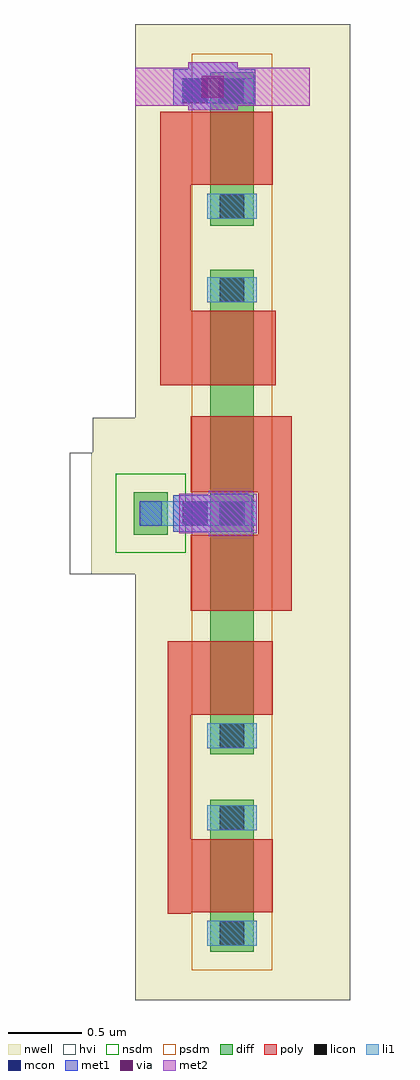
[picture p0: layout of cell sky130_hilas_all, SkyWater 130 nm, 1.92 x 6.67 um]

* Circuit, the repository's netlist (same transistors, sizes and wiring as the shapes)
* Copyright 2020 The Hilas PDK Authors
* 
* This file is part of HILAS.
* 
* HILAS is free software: you can redistribute it and/or modify
* it under the terms of the GNU Lesser General Public License as published by
* the Free Software Foundation, version 3 of the License.
* 
* HILAS is distributed in the hope that it will be useful,
* but WITHOUT ANY WARRANTY; without even the implied warranty of
* MERCHANTABILITY or FITNESS FOR A PARTICULAR PURPOSE.  See the
* GNU Lesser General Public License for more details.
* 
* You should have received a copy of the GNU Lesser General Public License
* along with HILAS.  If not, see <https://www.gnu.org/licenses/>.
* 
* Licensed under the Lesser General Public License, Version 3.0 (the "License");
* you may not use this file except in compliance with the License.
* You may obtain a copy of the License at
* 
* https://www.gnu.org/licenses/lgpl-3.0.en.html
* 
* Unless required by applicable law or agreed to in writing, software
* distributed under the License is distributed on an "AS IS" BASIS,
* WITHOUT WARRANTIES OR CONDITIONS OF ANY KIND, either express or implied.
* See the License for the specific language governing permissions and
* limitations under the License.
* 
* SPDX-License-Identifier: LGPL-3.0
* 
* 

* NGSPICE file created from sky130_hilas_all.ext - technology: sky130A


* Top level circuit sky130_hilas_all

X0 a_n1042_n392# a_n1100_n764# a_n1042_n546# w_n1204_n300# sky130_fd_pr__pfet_g5v0d10v5 w=300000u l=500000u
X1 a_n1042_n662# a_n1100_n764# a_n1042_n816# w_n1204_n300# sky130_fd_pr__pfet_g5v0d10v5 w=300000u l=500000u
X2 a_n1042_60# a_n1110_n42# a_n1042_n84# w_n1204_n300# sky130_fd_pr__pfet_g5v0d10v5 w=300000u l=510000u
X3 a_n1042_n84# a_n1068_n350# a_n1042_n246# w_n1204_n300# sky130_fd_pr__pfet_g5v0d10v5 w=300000u l=520000u
X4 a_n1042_n246# a_n1068_n350# a_n1042_n392# w_n1204_n300# sky130_fd_pr__pfet_g5v0d10v5 w=300000u l=520000u
X5 a_n1042_332# a_n1110_n42# a_n1042_176# w_n1204_n300# sky130_fd_pr__pfet_g5v0d10v5 w=300000u l=500000u
.end

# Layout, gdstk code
import gdstk
lib = gdstk.Library(unit=1e-6, precision=1e-09)
def R(c, l, rs):  # rectangles x0, y0, x1, y1
    for r in rs: c.add(gdstk.rectangle(r[:2], r[2:], *l))
nwell = (64, 20)
diff = (65, 20)
poly = (66, 20)
licon = (66, 44)
li1 = (67, 20)
mcon = (67, 44)
met1 = (68, 20)
via = (68, 44)
met2 = (69, 20)
hvi = (75, 20)
nsdm = (93, 44)
psdm = (94, 20)

sky130_hilas_all = lib.new_cell('sky130_hilas_all')
R(sky130_hilas_all, nwell, [(-5.72,-4.41,-4.25,-1.5), (-6.02,-1.5,-4.25,-0.67), (-6.01,-0.67,-4.25,-0.43), (-5.72,-0.43,-4.25,2.26)])
R(sky130_hilas_all, diff, [(-5.21,-4.08,-4.91,-3.04), (-5.21,-2.73,-4.91,0.58), (-5.73,-1.23,-5.5,-0.94), (-5.21,0.88,-4.91,1.93)])
R(sky130_hilas_all, poly, [(-5.5,-3.82,-5.34,-3.81), (-5.5,-3.81,-4.78,-3.31), (-5.5,-3.31,-5.34,-2.46), (-5.5,-2.46,-4.78,-1.96), (-5.34,-1.75,-4.65,-1.23), (-4.88,-1.23,-4.65,-0.94), (-5.34,-0.94,-4.65,-0.42), (-5.55,-0.21,-4.76,0.3), (-5.55,0.3,-5.34,1.16), (-5.55,1.16,-4.78,1.66)])
R(sky130_hilas_all, licon, [(-5.145,-4.04,-4.975,-3.87), (-5.145,-3.25,-4.975,-3.08), (-5.145,-2.69,-4.975,-2.52), (-5.145,-1.17,-4.975,-1), (-5.145,0.36,-4.975,0.53), (-5.145,0.93,-4.975,1.1), (-5.15,1.72,-4.98,1.89)])
R(sky130_hilas_all, li1, [(-5.23,-4.04,-4.89,-3.87), (-5.23,-3.25,-4.89,-3.08), (-5.23,-2.69,-4.89,-2.52), (-5.69,-1.17,-4.89,-1), (-5.23,0.36,-4.89,0.53), (-5.23,0.93,-4.89,1.1), (-5.4,1.72,-4.9,1.89)])
R(sky130_hilas_all, mcon, [(-5.395,-1.17,-5.225,-1), (-5.395,1.72,-5.225,1.89)])
R(sky130_hilas_all, met1, [(-5.46,-1.21,-4.92,-0.96), (-5.69,-1.17,-5.54,-1), (-5.2,-0.96,-4.95,-0.95), (-5.36,1.67,-5.02,1.7), (-5.46,1.7,-4.9,1.95), (-5.36,1.95,-5.02,2)])
R(sky130_hilas_all, via, [(-5.265,1.755,-5.115,1.905)])
R(sky130_hilas_all, met2, [(-5.22,-1.24,-4.92,-1.22), (-5.42,-1.22,-4.89,-0.95), (-5.22,-0.95,-4.91,-0.94), (-5.22,-0.94,-4.92,-0.93), (-5.36,1.67,-5.02,1.7), (-5.72,1.7,-4.53,1.96), (-5.36,1.96,-5.02,2)])
R(sky130_hilas_all, hvi, [(-5.72,-4.41,-4.25,-1.5), (-6.17,-1.5,-4.25,-0.67), (-6.01,-0.67,-4.25,-0.43), (-5.72,-0.43,-4.25,2.26)])
R(sky130_hilas_all, nsdm, [(-5.855,-1.355,-5.375,-0.815)])
R(sky130_hilas_all, psdm, [(-5.335,-4.205,-4.785,2.055)])

lib.write_gds('sky130_hilas_all.gds')
